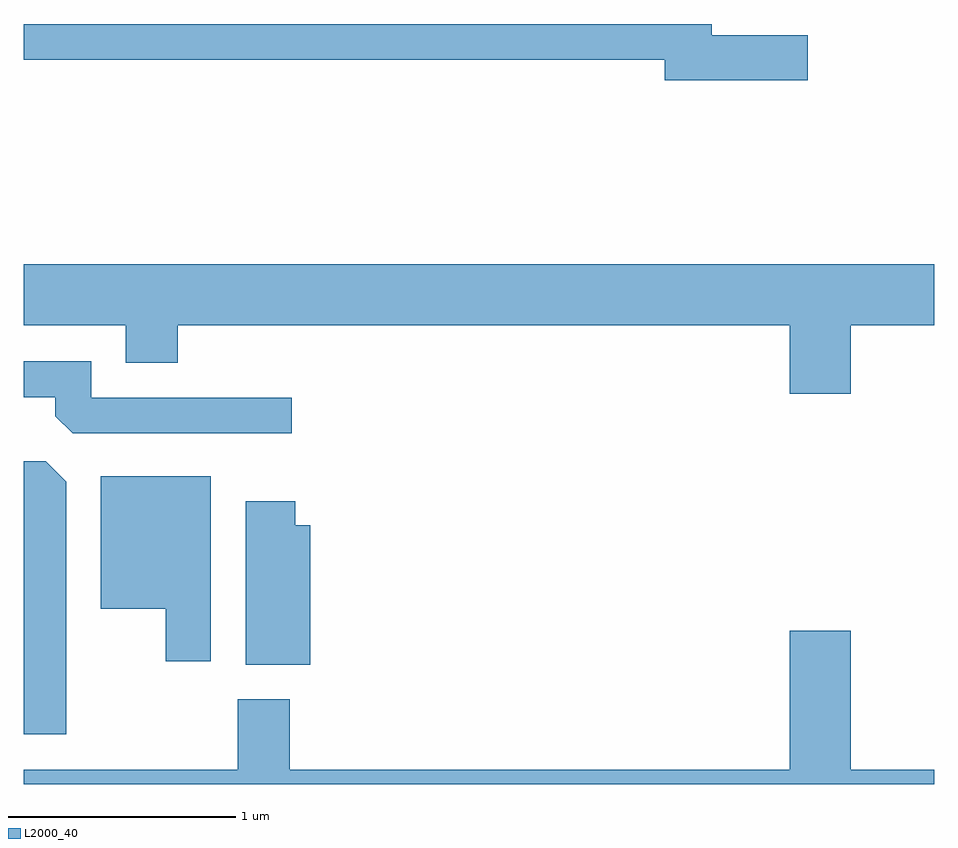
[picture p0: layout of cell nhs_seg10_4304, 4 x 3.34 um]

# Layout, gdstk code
import gdstk
lib = gdstk.Library(unit=1e-6, precision=1e-09)
def P(c, l, *ps):  # polygons
    for p in ps: c.add(gdstk.Polygon(p, *l))
L2000_40 = (2000, 40)

nhs_seg10_4304 = lib.new_cell('nhs_seg10_4304')
P(nhs_seg10_4304, L2000_40, [(315.054,2161.809),(314.634,2161.809),(314.634,2161.859),(311.611,2161.859),(311.611,2161.701),(314.426,2161.701),(314.426,2161.611),(315.054,2161.611)],
  [(315.244,2160.536),(315.611,2160.536),(315.611,2160.804),(311.611,2160.804),(311.611,2160.536),(312.061,2160.536),(312.061,2160.371),(312.289,2160.371),(312.289,2160.536),(314.976,2160.536),(314.976,2160.236),(315.244,2160.236)],
  [(312.788,2160.219),(311.909,2160.219),(311.909,2160.379),(311.611,2160.379),(311.611,2160.221),(311.751,2160.221),(311.751,2160.137),(311.827,2160.061),(312.788,2160.061)],
  [(311.799,2159.849),(311.709,2159.939),(311.611,2159.939),(311.611,2158.741),(311.799,2158.741)],
  [(312.434,2159.874),(311.951,2159.874),(311.951,2159.291),(312.236,2159.291),(312.236,2159.061),(312.434,2159.061)],
  [(312.869,2159.659),(312.804,2159.659),(312.804,2159.764),(312.586,2159.764),(312.586,2159.046),(312.869,2159.046)],
  [(315.611,2158.584),(315.244,2158.584),(315.244,2159.194),(314.976,2159.194),(314.976,2158.584),(312.779,2158.584),(312.779,2158.894),(312.551,2158.894),(312.551,2158.584),(311.611,2158.584),(311.611,2158.522),(315.611,2158.522)])

lib.write_gds('nhs_seg10_4304.gds')
